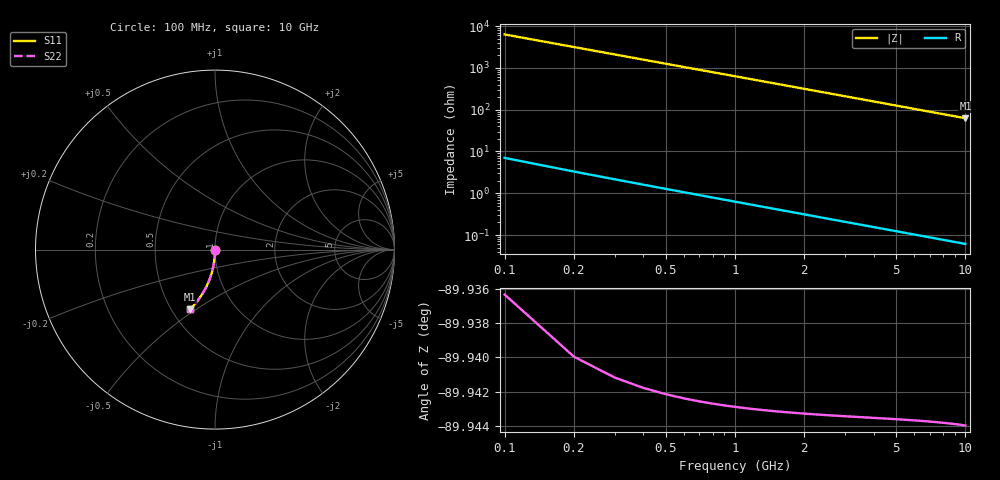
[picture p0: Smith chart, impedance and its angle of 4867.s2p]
# Hz S RI R 50.00
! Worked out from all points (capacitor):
!   100 points, 100 MHz to 10 GHz, reference 50 ohm
!   read as one part in shunt: C = 252 fF near 100 MHz
!   lowest |Z| = 62.6 ohm at 10 GHz (marker M1)
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1e8  7.55e-06 -0.00384  1 -0.00409  1 -0.00409  7.55e-06 -0.00384
2e8  -4.32e-05 -0.00767  0.9999 -0.00817  0.9999 -0.00817  -4.32e-05 -0.00767
3e8  -0.000125 -0.0115  0.9998 -0.0123  0.9998 -0.0123  -0.000125 -0.0115
4e8  -0.000239 -0.0153  0.9997 -0.0163  0.9997 -0.0163  -0.000239 -0.0153
5e8  -0.000384 -0.0192  0.9996 -0.0204  0.9996 -0.0204  -0.000384 -0.0192
6e8  -0.00056 -0.023  0.9994 -0.0245  0.9994 -0.0245  -0.00056 -0.023
7e8  -0.000768 -0.0268  0.9992 -0.0286  0.9992 -0.0286  -0.000768 -0.0268
8e8  -0.00101 -0.0307  0.9989 -0.0327  0.9989 -0.0327  -0.00101 -0.0307
9e8  -0.00128 -0.0345  0.9987 -0.0368  0.9987 -0.0368  -0.00128 -0.0345
1.1e9  -0.00191 -0.0421  0.998 -0.0449  0.998 -0.0449  -0.00191 -0.0421
1.4e9  -0.0031 -0.0536  0.9968 -0.0571  0.9968 -0.0571  -0.0031 -0.0536
1.8e9  -0.00511 -0.0688  0.9948 -0.0733  0.9948 -0.0733  -0.00511 -0.0688
2.1e9  -0.00695 -0.0801  0.993 -0.0854  0.993 -0.0854  -0.00695 -0.0801
2.5e9  -0.00982 -0.0952  0.9901 -0.1015  0.9901 -0.1015  -0.00982 -0.0952
2.9e9  -0.0132 -0.1101  0.9867 -0.1174  0.9867 -0.1174  -0.0132 -0.1101
3.4e9  -0.018 -0.1285  0.9819 -0.1371  0.9819 -0.1371  -0.018 -0.1285
4.2e9  -0.0273 -0.1574  0.9726 -0.168  0.9726 -0.168  -0.0273 -0.1574
5.1e9  -0.0398 -0.1888  0.96 -0.2017  0.96 -0.2017  -0.0398 -0.1888
5.9e9  -0.0527 -0.2156  0.9471 -0.2306  0.9471 -0.2306  -0.0527 -0.2156
6.7e9  -0.0671 -0.2412  0.9327 -0.2583  0.9327 -0.2583  -0.0671 -0.2412
8.4e9  -0.1019 -0.2914  0.8978 -0.3129  0.8978 -0.3129  -0.1019 -0.2914
1e10  -0.1388 -0.3326  0.8608 -0.3584  0.8608 -0.3584  -0.1388 -0.3326
